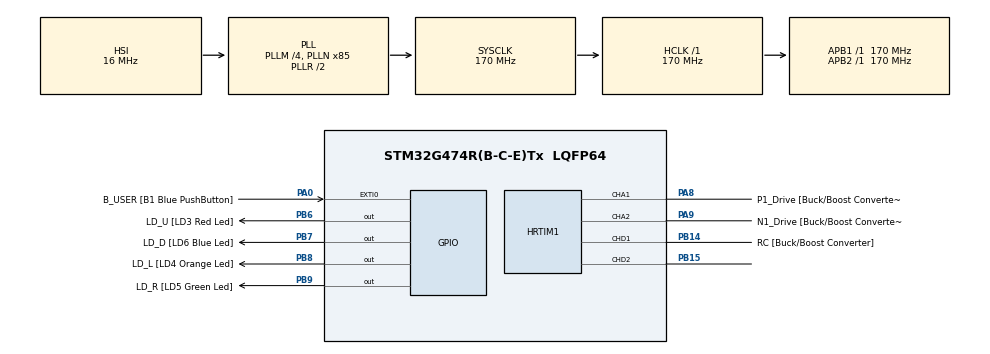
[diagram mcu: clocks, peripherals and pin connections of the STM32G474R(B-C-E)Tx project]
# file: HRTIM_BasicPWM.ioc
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HRTIM1.ADCTrigger_Id1=__NULL
HRTIM1.ADCTrigger_Id2=__NULL
HRTIM1.ADCTrigger_Id3=__NULL
HRTIM1.ADCTrigger_Id4=__NULL
HRTIM1.BurstDMAconfig-MasterTimer=__NULL
HRTIM1.BurstDMAconfig-Output_TA1TA2=__NULL
HRTIM1.BurstDMAconfig-Output_TD1TD2=__NULL
HRTIM1.BurstMode-MasterTimer=HRTIM_TIMERBURSTMODE_MAINTAINCLOCK
HRTIM1.BurstMode-Output_TA1TA2=HRTIM_TIMERBURSTMODE_MAINTAINCLOCK
HRTIM1.BurstMode-Output_TD1TD2=HRTIM_TIMERBURSTMODE_MAINTAINCLOCK
HRTIM1.BurstModeEntryDelayed1-Output_TA1TA2=HRTIM_OUTPUTBURSTMODEENTRY_REGULAR
HRTIM1.BurstModeEntryDelayed1-Output_TD1TD2=HRTIM_OUTPUTBURSTMODEENTRY_REGULAR
HRTIM1.BurstModeEntryDelayed2-Output_TA1TA2=HRTIM_OUTPUTBURSTMODEENTRY_REGULAR
HRTIM1.BurstModeEntryDelayed2-Output_TD1TD2=HRTIM_OUTPUTBURSTMODEENTRY_REGULAR
HRTIM1.CaptureUnit1-Output_TA1TA2=__NULL
HRTIM1.CaptureUnit1-Output_TD1TD2=__NULL
HRTIM1.CaptureUnit2-Output_TA1TA2=__NULL
HRTIM1.CaptureUnit2-Output_TD1TD2=__NULL
HRTIM1.ChopperModeEnable1-Output_TA1TA2=HRTIM_OUTPUTCHOPPERMODE_DISABLED
HRTIM1.ChopperModeEnable1-Output_TD1TD2=HRTIM_OUTPUTCHOPPERMODE_DISABLED
HRTIM1.ChopperModeEnable2-Output_TA1TA2=HRTIM_OUTPUTCHOPPERMODE_DISABLED
HRTIM1.ChopperModeEnable2-Output_TD1TD2=HRTIM_OUTPUTCHOPPERMODE_DISABLED
HRTIM1.ChopperModeconfig-Output_TA1TA2=__NULL
HRTIM1.ChopperModeconfig-Output_TD1TD2=__NULL
HRTIM1.CompareUnit1-MasterTimer=__NULL
HRTIM1.CompareUnit1-Output_TA1TA2=__NULL
HRTIM1.CompareUnit1-Output_TD1TD2=__NULL
HRTIM1.CompareUnit2-MasterTimer=__NULL
HRTIM1.CompareUnit2-Output_TA1TA2=__NULL
HRTIM1.CompareUnit2-Output_TD1TD2=__NULL
HRTIM1.CompareUnit3-MasterTimer=__NULL
HRTIM1.CompareUnit3-Output_TA1TA2=__NULL
HRTIM1.CompareUnit3-Output_TD1TD2=__NULL
HRTIM1.CompareUnit4-MasterTimer=__NULL
HRTIM1.CompareUnit4-Output_TA1TA2=__NULL
HRTIM1.CompareUnit4-Output_TD1TD2=__NULL
HRTIM1.Configuration_TA=Waveform
HRTIM1.Configuration_TD=Waveform
HRTIM1.DACSynchro-MasterTimer=HRTIM_DACSYNC_NONE
HRTIM1.DACSynchro-Output_TA1TA2=HRTIM_DACSYNC_NONE
HRTIM1.DACSynchro-Output_TD1TD2=HRTIM_DACSYNC_NONE
HRTIM1.DeadTimeInsertion-Output_TA1TA2=HRTIM_TIMDEADTIMEINSERTION_DISABLED
HRTIM1.DeadTimeInsertion-Output_TD1TD2=HRTIM_TIMDEADTIMEINSERTION_DISABLED
HRTIM1.Deadtimeconfig-Output_TA1TA2=__NULL
HRTIM1.Deadtimeconfig-Output_TD1TD2=__NULL
HRTIM1.DelayedProtectionMode-Output_TA1TA2=HRTIM_TIMER_A_B_C_DELAYEDPROTECTION_DISABLED
HRTIM1.DelayedProtectionMode-Output_TD1TD2=HRTIM_TIMER_D_E_DELAYEDPROTECTION_DISABLED
HRTIM1.Enable=HRTIM_BURSTMODECTL_DISABLED
HRTIM1.EnableCalibration=NoDLLCalibration
HRTIM1.Event1-Output_TA1TA2=__NULL
HRTIM1.Event1-Output_TD1TD2=__NULL
HRTIM1.Event10-Output_TA1TA2=__NULL
HRTIM1.Event10-Output_TD1TD2=__NULL
HRTIM1.Event2-Output_TA1TA2=__NULL
HRTIM1.Event2-Output_TD1TD2=__NULL
HRTIM1.Event3-Output_TA1TA2=__NULL
HRTIM1.Event3-Output_TD1TD2=__NULL
HRTIM1.Event4-Output_TA1TA2=__NULL
HRTIM1.Event4-Output_TD1TD2=__NULL
HRTIM1.Event5-Output_TA1TA2=__NULL
HRTIM1.Event5-Output_TD1TD2=__NULL
HRTIM1.Event6-Output_TA1TA2=__NULL
HRTIM1.Event6-Output_TD1TD2=__NULL
HRTIM1.Event7-Output_TA1TA2=__NULL
HRTIM1.Event7-Output_TD1TD2=__NULL
HRTIM1.Event8-Output_TA1TA2=__NULL
HRTIM1.Event8-Output_TD1TD2=__NULL
HRTIM1.Event9-Output_TA1TA2=__NULL
HRTIM1.Event9-Output_TD1TD2=__NULL
HRTIM1.Event_EEV1=__NULL
HRTIM1.Event_EEV10=__NULL
HRTIM1.Event_EEV2=__NULL
HRTIM1.Event_EEV3=__NULL
HRTIM1.Event_EEV4=__NULL
HRTIM1.Event_EEV5=__NULL
HRTIM1.Event_EEV6=__NULL
HRTIM1.Event_EEV7=__NULL
HRTIM1.Event_EEV8=__NULL
HRTIM1.Event_EEV9=__NULL
HRTIM1.FaultLevel1-Output_TA1TA2=HRTIM_OUTPUTFAULTLEVEL_NONE
HRTIM1.FaultLevel1-Output_TD1TD2=HRTIM_OUTPUTFAULTLEVEL_NONE
HRTIM1.FaultLevel2-Output_TA1TA2=HRTIM_OUTPUTFAULTLEVEL_NONE
HRTIM1.FaultLevel2-Output_TD1TD2=HRTIM_OUTPUTFAULTLEVEL_NONE
HRTIM1.FaultLock-Output_TA1TA2=HRTIM_TIMFAULTLOCK_READWRITE
HRTIM1.FaultLock-Output_TD1TD2=HRTIM_TIMFAULTLOCK_READWRITE
HRTIM1.Fault_Line1=__NULL
HRTIM1.Fault_Line2=__NULL
HRTIM1.Fault_Line3=__NULL
HRTIM1.Fault_Line4=__NULL
HRTIM1.Fault_Line5=__NULL
HRTIM1.HRTIMInterruptResquests1=HRTIM_IT_NONE
HRTIM1.HRTIMInterruptResquests2=HRTIM_IT_NONE
HRTIM1.HRTIMInterruptResquests3=HRTIM_IT_NONE
HRTIM1.HRTIMInterruptResquests4=HRTIM_IT_NONE
HRTIM1.HRTIMInterruptResquests5=HRTIM_IT_NONE
HRTIM1.HRTIMInterruptResquests6=HRTIM_IT_NONE
HRTIM1.HRTIMInterruptResquests7=HRTIM_IT_NONE
HRTIM1.HRTIMInterruptResquests8=HRTIM_IT_NONE
HRTIM1.HalfModeEnable-MasterTimer=HRTIM_HALFMODE_DISABLED
HRTIM1.HalfModeEnable-Output_TA1TA2=HRTIM_HALFMODE_DISABLED
HRTIM1.HalfModeEnable-Output_TD1TD2=HRTIM_HALFMODE_DISABLED
HRTIM1.IdleLevel1-Output_TA1TA2=HRTIM_OUTPUTIDLELEVEL_INACTIVE
HRTIM1.IdleLevel1-Output_TD1TD2=HRTIM_OUTPUTIDLELEVEL_INACTIVE
HRTIM1.IdleLevel2-Output_TA1TA2=HRTIM_OUTPUTIDLELEVEL_INACTIVE
HRTIM1.IdleLevel2-Output_TD1TD2=HRTIM_OUTPUTIDLELEVEL_INACTIVE
HRTIM1.IdleMode1-Output_TA1TA2=HRTIM_OUTPUTIDLEMODE_NONE
HRTIM1.IdleMode1-Output_TD1TD2=HRTIM_OUTPUTIDLEMODE_NONE
HRTIM1.IdleMode2-Output_TA1TA2=HRTIM_OUTPUTIDLEMODE_NONE
HRTIM1.IdleMode2-Output_TD1TD2=HRTIM_OUTPUTIDLEMODE_NONE
HRTIM1.ModeTimeBase-MasterTimer=HRTIM_MODE_CONTINUOUS
HRTIM1.ModeTimeBase-Output_TA1TA2=HRTIM_MODE_CONTINUOUS
HRTIM1.ModeTimeBase-Output_TD1TD2=HRTIM_MODE_CONTINUOUS
HRTIM1.NumberDMARequests_Master=0
HRTIM1.NumberDMARequests_TA=0
HRTIM1.NumberDMARequests_TD=0
HRTIM1.NumberFaultEnable-Output_TA1TA2=0
HRTIM1.NumberFaultEnable-Output_TD1TD2=0
HRTIM1.NumberInterruptRequests-Output_TA1TA2=0
HRTIM1.NumberInterruptRequests-Output_TD1TD2=0
HRTIM1.NumberInterruptRequests_Master-MasterTimer=0
HRTIM1.NumberResetSource1-Output_TA1TA2=0
HRTIM1.NumberResetSource1-Output_TD1TD2=0
HRTIM1.NumberResetSource2_TA=0
HRTIM1.NumberResetSource2_TD=0
HRTIM1.NumberResetTrigger-Output_TA1TA2=0
HRTIM1.NumberResetTrigger-Output_TD1TD2=0
HRTIM1.NumberSetSource1-Output_TA1TA2=0
HRTIM1.NumberSetSource1-Output_TD1TD2=0
HRTIM1.NumberSetSource2_TA=0
HRTIM1.NumberSetSource2_TD=0
HRTIM1.NumberUpdateTrigger-Output_TA1TA2=0
HRTIM1.NumberUpdateTrigger-Output_TD1TD2=0
HRTIM1.Output1-Output_TA1TA2=HRTIM_OUTPUT_TA1
HRTIM1.Output1-Output_TD1TD2=HRTIM_OUTPUT_TD1
HRTIM1.Output2-Output_TA1TA2=HRTIM_OUTPUT_TA2
HRTIM1.Output2-Output_TD1TD2=HRTIM_OUTPUT_TD2
HRTIM1.Periode_MASTER=0xFFFD
HRTIM1.Periode_TA=0xFFFD
HRTIM1.Polarity1-Output_TA1TA2=HRTIM_OUTPUTPOLARITY_HIGH
HRTIM1.Polarity1-Output_TD1TD2=HRTIM_OUTPUTPOLARITY_HIGH
HRTIM1.Polarity2-Output_TA1TA2=HRTIM_OUTPUTPOLARITY_HIGH
HRTIM1.Polarity2-Output_TD1TD2=HRTIM_OUTPUTPOLARITY_HIGH
HRTIM1.PreloadEnable-MasterTimer=HRTIM_PRELOAD_DISABLED
HRTIM1.PreloadEnable-Output_TA1TA2=HRTIM_PRELOAD_DISABLED
HRTIM1.PreloadEnable-Output_TD1TD2=HRTIM_PRELOAD_DISABLED
HRTIM1.PrescalerRatio_MASTER=HRTIM_PRESCALERRATIO_DIV1
HRTIM1.PrescalerRatio_TA=HRTIM_PRESCALERRATIO_DIV1
HRTIM1.PrescalerRatio_TD=HRTIM_PRESCALERRATIO_DIV1
HRTIM1.PushPull-Output_TA1TA2=HRTIM_TIMPUSHPULLMODE_DISABLED
HRTIM1.PushPull-Output_TD1TD2=HRTIM_TIMPUSHPULLMODE_DISABLED
HRTIM1.RepetitionUpdate-MasterTimer=HRTIM_UPDATEONREPETITION_DISABLED
HRTIM1.RepetitionUpdate-Output_TA1TA2=HRTIM_UPDATEONREPETITION_DISABLED
HRTIM1.RepetitionUpdate-Output_TD1TD2=HRTIM_UPDATEONREPETITION_DISABLED
HRTIM1.ResetOnSync-MasterTimer=HRTIM_SYNCRESET_DISABLED
HRTIM1.ResetOnSync-Output_TA1TA2=HRTIM_SYNCRESET_DISABLED
HRTIM1.ResetOnSync-Output_TD1TD2=HRTIM_SYNCRESET_DISABLED
HRTIM1.ResetUpdate-Output_TA1TA2=HRTIM_TIMUPDATEONRESET_DISABLED
HRTIM1.ResetUpdate-Output_TD1TD2=HRTIM_TIMUPDATEONRESET_DISABLED
HRTIM1.StartOnSync-MasterTimer=HRTIM_SYNCSTART_DISABLED
HRTIM1.StartOnSync-Output_TA1TA2=HRTIM_SYNCSTART_DISABLED
HRTIM1.StartOnSync-Output_TD1TD2=HRTIM_SYNCSTART_DISABLED
HRTIM1.SyncOptions=HRTIM_SYNCOPTION_NONE
HRTIM1.TimerIdx-MasterTimer=HRTIM_TIMERINDEX_MASTER
HRTIM1.TimerIdx-Output_TA1TA2=HRTIM_TIMERINDEX_TIMER_A
HRTIM1.TimerIdx-Output_TD1TD2=HRTIM_TIMERINDEX_TIMER_D
HRTIM1.UpdateGating-MasterTimer=HRTIM_UPDATEGATING_INDEPENDENT
HRTIM1.UpdateGating-Output_TA1TA2=HRTIM_UPDATEGATING_INDEPENDENT
HRTIM1.UpdateGating-Output_TD1TD2=HRTIM_UPDATEGATING_INDEPENDENT
Mcu.Family=STM32G4
Mcu.Name=STM32G474R(B-C-E)Tx
Mcu.Package=LQFP64
NVIC.PriorityGroup=NVIC_PRIORITYGROUP_0
PA0.GPIO_Label=B_USER [B1 Blue PushButton]
PA0.GPIO_ModeDefaultEXTI=GPIO_MODE_EVT_RISING
PA0.Signal=GPXTI0
PA1.GPIO_Label=Vin_Sense [Buck/Boost Converter]
PA1.Signal=ADC1_IN2
PA10.GPIO_Label=N2_Drive [Buck/Boost Converter]
PA10.Signal=HRTIM1_CHB1
PA11.GPIO_Label=P2_Drive [Buck/Boost Converter]
PA11.Signal=HRTIM1_CHB2
PA13.GPIO_Label=SWDIO
PA13.Signal=SYS_JTMS-SWDIO
PA14.GPIO_Label=SWCLK
PA14.Signal=SYS_JTCK-SWCLK
PA3.GPIO_Label=Vout_Sense [Buck/Boost Converter]
PA3.Signal=ADC1_IN4
PA8.GPIO_Label=P1_Drive [Buck/Boost Converter]
PA8.Mode=Output_TA1TA2
PA8.Signal=HRTIM1_CHA1
PA9.GPIO_Label=N1_Drive [Buck/Boost Converter]
PA9.Mode=Output_TA1TA2
PA9.Signal=HRTIM1_CHA2
PB12.GPIO_Label=BK_Drive [Led Buck Converter]
PB12.Signal=HRTIM1_CHC1
PB14.GPIO_Label=RC [Buck/Boost Converter]
PB14.Mode=Output_TD1TD2
PB14.Signal=HRTIM1_CHD1
PB15.Mode=Output_TD1TD2
PB15.Signal=HRTIM1_CHD2
PB6.GPIO_Label=LD_U [LD3 Red Led]
PB6.Signal=GPIO_Output
PB7.GPIO_Label=LD_D [LD6 Blue Led]
PB7.Signal=GPIO_Output
PB8-BOOT0.GPIO_Label=LD_L [LD4 Orange Led]
PB8-BOOT0.Signal=GPIO_Output
PB9.GPIO_Label=LD_R [LD5 Green Led]
PB9.Signal=GPIO_Output
PF0-OSC_IN.GPIO_Label=PF0-OSC_IN
PF0-OSC_IN.Signal=RCC_OSC_IN
PF1-OSC_OUT.GPIO_Label=PF1_OSC_OUT
PF1-OSC_OUT.Signal=RCC_OSC_OUT
ProjectManager.HeapSize=0x200
ProjectManager.StackSize=0x400
ProjectManager.TargetToolchain=EWARM V8
RCC.ADC12Freq_Value=170000000
RCC.ADC345Freq_Value=170000000
RCC.AHBFreq_Value=170000000
RCC.APB1Freq_Value=170000000
RCC.APB1TimFreq_Value=170000000
RCC.APB2Freq_Value=170000000
RCC.APB2TimFreq_Value=170000000
RCC.CortexFreq_Value=170000000
RCC.EXTERNAL_CLOCK_VALUE=12288000
RCC.HCLKFreq_Value=170000000
RCC.HSE_VALUE=24000000
RCC.HSI48_VALUE=48000000
RCC.HSI_VALUE=16000000
RCC.LSE_VALUE=32768
RCC.PLLM=RCC_PLLM_DIV4
RCC.PLLN=85
RCC.SYSCLKFreq_VALUE=170000000
RCC.SYSCLKSource=RCC_SYSCLKSOURCE_PLLCLK
RCC.USBFreq_Value=170000000
RCC.VCOOutputFreq_Value=340000000
VP_HRTIM1_VS_hrtimMasterTimerNoOutput.Mode=MasterTimer
board=STM32F3348DISCOVERY

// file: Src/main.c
/* USER CODE BEGIN Header */
/**
  ******************************************************************************
  * @file           : main.c
  * @brief          : Main program body
  ******************************************************************************
  * @attention
  *
  * <h2><center>&copy; Copyright (c) 2019 STMicroelectronics.
  * All rights reserved.</center></h2>
  *
  * This software component is licensed by ST under BSD 3-Clause license,
  * the "License"; You may not use this file except in compliance with the
  * License. You may obtain a copy of the License at:
  *                        opensource.org/licenses/BSD-3-Clause
  *
  ******************************************************************************
  */
/* USER CODE END Header */

#include "main.h"

/* USER CODE BEGIN Includes */
#include "stm32g4xx_nucleo.h"
/* USER CODE END Includes */

HRTIM_HandleTypeDef hhrtim1;

/* USER CODE BEGIN PV */
/* Private variables ---------------------------------------------------------*/

/* Private typedef -----------------------------------------------------------*/
#define HRTIM_INPUT_CLOCK       ((uint64_t)144000000)   /* Value in Hz */

/* Formula below works down to 70.3kHz (with presc ratio = 1) */
#define _200KHz_PERIOD ((uint16_t)((HRTIM_INPUT_CLOCK * 32) / 200000))

/* Formula below works down to 70.3kHz (with presc ratio = 1) */
#define _100KHz_PERIOD ((uint16_t)((HRTIM_INPUT_CLOCK * 32) / 100000))

/* Formula below works down to 70.3kHz (with presc ratio = 1) */
#define _100KHz_Plus_PERIOD ((uint16_t)((HRTIM_INPUT_CLOCK * 32) / 100001))

/* Formula below works down to 17.6kHz (with presc ratio = 4) */
#define _33KHz_PERIOD ((uint16_t)((HRTIM_INPUT_CLOCK * 8) / 33333))

/* Define here the snippet to be executed */
#define HRTIM_CHECK
//#define SINGLE_PWM
//#define MULTIPLE_PWM
//#define PWM_MASTER
//#define ARBITRARY_WAVEFORM

HRTIM_HandleTypeDef hhrtim1;

/* USER CODE END PV */

void SystemClock_Config(void);
static void MX_GPIO_Init(void);
static void MX_HRTIM1_Init(void);
/* USER CODE BEGIN PFP */
/* Private function prototypes -----------------------------------------------*/
static void GPIO_HRTIM_outputs_Config(void);

#ifdef HRTIM_CHECK
static void HRTIM_Config_HRTIMCheck(void);
#endif /* HRTIM_CHECK */

#ifdef SINGLE_PWM
static void HRTIM_Config_SinglePWM(void);
#endif /* SINGLE_PWM */

#ifdef MULTIPLE_PWM
static void HRTIM_Config_MultiplePWM(void);
#endif  /* MULTIPLE_PWM */

#ifdef PWM_MASTER
static void HRTIM_Config_MasterPWM(void);
#endif /* PWM_MASTER */

#ifdef ARBITRARY_WAVEFORM
static void HRTIM_Config_ArbitraryWaveform(void);
#endif /* ARBITRARY_WAVEFORM */

/* USER CODE END PFP */

int main(void)
{

  /* MCU Configuration--------------------------------------------------------*/

  /* Reset of all peripherals, Initializes the Flash interface and the Systick. */
  HAL_Init();

  /* Configure the system clock */
  SystemClock_Config();

  /* Initialize all configured peripherals */
  MX_GPIO_Init();
  MX_HRTIM1_Init();
  /* USER CODE BEGIN 2 */

  /* ---------------------------------------------------------------------------*/
/* ------------------------ EXAMPLE 1: HRTIM_CHECK ---------------------------*/
/* ---------------------------------------------------------------------------*/
#ifdef HRTIM_CHECK

  HRTIM_Config_HRTIMCheck();    /* Initialize HRTIM and related inputs */
  GPIO_HRTIM_outputs_Config();  /* Initialize GPIO's HRTIM outputs */
  BSP_LED_On(LED2);
#endif  /* HRTIM_CHECK */
/* ---------------------------------------------------------------------------*/
/* ------------------------ EXAMPLE 2: SINGLE PWM ----------------------------*/
/* ---------------------------------------------------------------------------*/
#ifdef SINGLE_PWM

  HRTIM_Config_SinglePWM();     /* Initialize HRTIM and related inputs */
  GPIO_HRTIM_outputs_Config();  /* Initialize GPIO's HRTIM outputs */

 #endif  /* SINGLE_PWM */
/* ---------------------------------------------------------------------------*/
/* ------------------------ EXAMPLE 3: MULTIPLE PWM --------------------------*/
/* ---------------------------------------------------------------------------*/
#ifdef MULTIPLE_PWM

  HRTIM_Config_MultiplePWM();   /* Initialize HRTIM and related inputs */
  GPIO_HRTIM_outputs_Config();  /* Initialize GPIO's HRTIM outputs */

#endif /* MULTIPLE_PWM */
/* ---------------------------------------------------------------------------*/
/* -------------------- SNIPPET 4: PWM with MASTER TIMER ---------------------*/
/* ---------------------------------------------------------------------------*/
#ifdef PWM_MASTER

  HRTIM_Config_MasterPWM();     /* Initialize HRTIM and related inputs */
  GPIO_HRTIM_outputs_Config();  /* Initialize GPIO's HRTIM outputs */

#endif /* PWM_MASTER */
/* ---------------------------------------------------------------------------*/
/* --------------------- EXAMPLE 5: ARBITRARY_WAVEFORM -----------------------*/
/* ---------------------------------------------------------------------------*/
#ifdef ARBITRARY_WAVEFORM

  HRTIM_Config_ArbitraryWaveform();     /* Initialize HRTIM and related inputs */
  GPIO_HRTIM_outputs_Config();  /* Initialize GPIO's HRTIM outputs */

#endif /* ARBITRARY_WAVEFORM */

  /* USER CODE END 2 */

  /* Infinite loop */
  while (1)
  {

    /* USER CODE BEGIN 3 */
/* ---------------------------------------------------------------------------*/
/* ------------------------ EXAMPLE 1: HRTIM_CHECK ---------------------------*/
/* ---------------------------------------------------------------------------*/
#ifdef HRTIM_CHECK

    /* TD1 output toggles at ~430kHz (this frequency can vary depending on compiler and optimizations options) */
    HAL_HRTIM_WaveformSetOutputLevel(&hhrtim1, HRTIM_TIMERINDEX_TIMER_D, HRTIM_OUTPUT_TD1, HRTIM_OUTPUTLEVEL_ACTIVE);
    HAL_HRTIM_WaveformSetOutputLevel(&hhrtim1, HRTIM_TIMERINDEX_TIMER_D, HRTIM_OUTPUT_TD1, HRTIM_OUTPUTLEVEL_INACTIVE);

    /* With direct register access, TD1 output toggles at ~10MHz */
//    HRTIM1->sTimerxRegs[HRTIM_TIMERINDEX_TIMER_D].SETx1R = HRTIM_SET1R_SST;
//    HRTIM1->sTimerxRegs[HRTIM_TIMERINDEX_TIMER_D].RSTx1R = HRTIM_RST1R_SRT;
#endif  /* HRTIM_CHECK */
/* ---------------------------------------------------------------------------*/
/* ------------------------ EXAMPLE 2: SINGLE PWM ----------------------------*/
/* ---------------------------------------------------------------------------*/
#ifdef SINGLE_PWM

    BSP_LED_Toggle(LED2);
    HAL_Delay(100);

#endif  /* SINGLE_PWM */
/* ---------------------------------------------------------------------------*/
/* ------------------------ EXAMPLE 3: MULTIPLE PWM --------------------------*/
/* ---------------------------------------------------------------------------*/
#ifdef MULTIPLE_PWM

    BSP_LED_Toggle(LED2);
    HAL_Delay(100);

#endif /* MULTIPLE_PWM */
/* ---------------------------------------------------------------------------*/
/* -------------------- SNIPPET 4: PWM with MASTER TIMER ---------------------*/
/* ---------------------------------------------------------------------------*/
#ifdef PWM_MASTER

    BSP_LED_Toggle(LED2);
    HAL_Delay(100);

#endif /* PWM_MASTER */
/* ---------------------------------------------------------------------------*/
/* --------------------- EXAMPLE 5: ARBITRARY_WAVEFORM -----------------------*/
/* ---------------------------------------------------------------------------*/
#ifdef ARBITRARY_WAVEFORM

    BSP_LED_Toggle(LED2);
    HAL_Delay(100);

#endif /* ARBITRARY_WAVEFORM */

  }
  /* USER CODE END 3 */
}

void SystemClock_Config(void)
{
  RCC_OscInitTypeDef RCC_OscInitStruct = {0};
  RCC_ClkInitTypeDef RCC_ClkInitStruct = {0};

  /** Configure the main internal regulator output voltage
  */
  HAL_PWREx_ControlVoltageScaling(PWR_REGULATOR_VOLTAGE_SCALE1_BOOST);
  /** Initializes the CPU, AHB and APB busses clocks
  */
  RCC_OscInitStruct.OscillatorType = RCC_OSCILLATORTYPE_HSI;
  RCC_OscInitStruct.HSIState = RCC_HSI_ON;
  RCC_OscInitStruct.HSICalibrationValue = 64;
  RCC_OscInitStruct.PLL.PLLState = RCC_PLL_ON;
  RCC_OscInitStruct.PLL.PLLSource = RCC_PLLSOURCE_HSI;
  RCC_OscInitStruct.PLL.PLLM = RCC_PLLM_DIV4;
  RCC_OscInitStruct.PLL.PLLN = 85;
  RCC_OscInitStruct.PLL.PLLP = RCC_PLLP_DIV2;
  RCC_OscInitStruct.PLL.PLLQ = RCC_PLLQ_DIV2;
  RCC_OscInitStruct.PLL.PLLR = RCC_PLLR_DIV2;
  if (HAL_RCC_OscConfig(&RCC_OscInitStruct) != HAL_OK)
  {
    Error_Handler();
  }
  /** Initializes the CPU, AHB and APB busses clocks
  */
  RCC_ClkInitStruct.ClockType = RCC_CLOCKTYPE_HCLK|RCC_CLOCKTYPE_SYSCLK
                              |RCC_CLOCKTYPE_PCLK1|RCC_CLOCKTYPE_PCLK2;
  RCC_ClkInitStruct.SYSCLKSource = RCC_SYSCLKSOURCE_PLLCLK;
  RCC_ClkInitStruct.AHBCLKDivider = RCC_SYSCLK_DIV1;
  RCC_ClkInitStruct.APB1CLKDivider = RCC_HCLK_DIV1;
  RCC_ClkInitStruct.APB2CLKDivider = RCC_HCLK_DIV1;

  if (HAL_RCC_ClockConfig(&RCC_ClkInitStruct, FLASH_LATENCY_8) != HAL_OK)
  {
    Error_Handler();
  }
}

static void MX_HRTIM1_Init(void)
{

  HRTIM_TimeBaseCfgTypeDef pTimeBaseCfg = {0};
  HRTIM_TimerCfgTypeDef pTimerCfg = {0};
  HRTIM_TimerCtlTypeDef pTimerCtl = {0};
  HRTIM_OutputCfgTypeDef pOutputCfg = {0};

  hhrtim1.Instance = HRTIM1;
  hhrtim1.Init.HRTIMInterruptResquests = HRTIM_IT_NONE;
  hhrtim1.Init.SyncOptions = HRTIM_SYNCOPTION_NONE;
  if (HAL_HRTIM_Init(&hhrtim1) != HAL_OK)
  {
    Error_Handler();
  }
  pTimeBaseCfg.Period = 0xFFFD;
  pTimeBaseCfg.RepetitionCounter = 0x00;
  pTimeBaseCfg.PrescalerRatio = HRTIM_PRESCALERRATIO_DIV1;
  pTimeBaseCfg.Mode = HRTIM_MODE_CONTINUOUS;
  if (HAL_HRTIM_TimeBaseConfig(&hhrtim1, HRTIM_TIMERINDEX_MASTER, &pTimeBaseCfg) != HAL_OK)
  {
    Error_Handler();
  }
  pTimerCfg.InterruptRequests = HRTIM_MASTER_IT_NONE;
  pTimerCfg.DMARequests = HRTIM_MASTER_DMA_NONE;
  pTimerCfg.DMASrcAddress = 0x0000;
  pTimerCfg.DMADstAddress = 0x0000;
  pTimerCfg.DMASize = 0x1;
  pTimerCfg.HalfModeEnable = HRTIM_HALFMODE_DISABLED;
  pTimerCfg.InterleavedMode = HRTIM_INTERLEAVED_MODE_DISABLED;
  pTimerCfg.StartOnSync = HRTIM_SYNCSTART_DISABLED;
  pTimerCfg.ResetOnSync = HRTIM_SYNCRESET_DISABLED;
  pTimerCfg.DACSynchro = HRTIM_DACSYNC_NONE;
  pTimerCfg.PreloadEnable = HRTIM_PRELOAD_DISABLED;
  pTimerCfg.UpdateGating = HRTIM_UPDATEGATING_INDEPENDENT;
  pTimerCfg.BurstMode = HRTIM_TIMERBURSTMODE_MAINTAINCLOCK;
  pTimerCfg.RepetitionUpdate = HRTIM_UPDATEONREPETITION_DISABLED;
  pTimerCfg.ReSyncUpdate = HRTIM_TIMERESYNC_UPDATE_UNCONDITIONAL;
  if (HAL_HRTIM_WaveformTimerConfig(&hhrtim1, HRTIM_TIMERINDEX_MASTER, &pTimerCfg) != HAL_OK)
  {
    Error_Handler();
  }
  if (HAL_HRTIM_TimeBaseConfig(&hhrtim1, HRTIM_TIMERINDEX_TIMER_A, &pTimeBaseCfg) != HAL_OK)
  {
    Error_Handler();
  }
  pTimerCtl.UpDownMode = HRTIM_TIMERUPDOWNMODE_UP;
  pTimerCtl.DualChannelDacEnable = HRTIM_TIMER_DCDE_DISABLED;
  if (HAL_HRTIM_WaveformTimerControl(&hhrtim1, HRTIM_TIMERINDEX_TIMER_A, &pTimerCtl) != HAL_OK)
  {
    Error_Handler();
  }
  pTimerCfg.InterruptRequests = HRTIM_TIM_IT_NONE;
  pTimerCfg.DMARequests = HRTIM_TIM_DMA_NONE;
  pTimerCfg.DMASrcAddress = 0x0000;
  pTimerCfg.DMADstAddress = 0x0000;
  pTimerCfg.DMASize = 0x1;
  pTimerCfg.PushPull = HRTIM_TIMPUSHPULLMODE_DISABLED;
  pTimerCfg.FaultEnable = HRTIM_TIMFAULTENABLE_NONE;
  pTimerCfg.FaultLock = HRTIM_TIMFAULTLOCK_READWRITE;
  pTimerCfg.DeadTimeInsertion = HRTIM_TIMDEADTIMEINSERTION_DISABLED;
  pTimerCfg.DelayedProtectionMode = HRTIM_TIMER_A_B_C_DELAYEDPROTECTION_DISABLED;
  pTimerCfg.UpdateTrigger = HRTIM_TIMUPDATETRIGGER_NONE;
  pTimerCfg.ResetTrigger = HRTIM_TIMRESETTRIGGER_NONE;
  pTimerCfg.ResetUpdate = HRTIM_TIMUPDATEONRESET_DISABLED;
  if (HAL_HRTIM_WaveformTimerConfig(&hhrtim1, HRTIM_TIMERINDEX_TIMER_A, &pTimerCfg) != HAL_OK)
  {
    Error_Handler();
  }
  pTimerCfg.DMASrcAddress = 0x0000;
  pTimerCfg.DMADstAddress = 0x0000;
  pTimerCfg.DMASize = 0x1;
  pTimerCfg.DelayedProtectionMode = HRTIM_TIMER_D_E_DELAYEDPROTECTION_DISABLED;
  if (HAL_HRTIM_WaveformTimerConfig(&hhrtim1, HRTIM_TIMERINDEX_TIMER_D, &pTimerCfg) != HAL_OK)
  {
    Error_Handler();
  }
  pOutputCfg.Polarity = HRTIM_OUTPUTPOLARITY_HIGH;
  pOutputCfg.SetSource = HRTIM_OUTPUTSET_NONE;
  pOutputCfg.ResetSource = HRTIM_OUTPUTRESET_NONE;
  pOutputCfg.IdleMode = HRTIM_OUTPUTIDLEMODE_NONE;
  pOutputCfg.IdleLevel = HRTIM_OUTPUTIDLELEVEL_INACTIVE;
  pOutputCfg.FaultLevel = HRTIM_OUTPUTFAULTLEVEL_NONE;
  pOutputCfg.ChopperModeEnable = HRTIM_OUTPUTCHOPPERMODE_DISABLED;
  pOutputCfg.BurstModeEntryDelayed = HRTIM_OUTPUTBURSTMODEENTRY_REGULAR;
  if (HAL_HRTIM_WaveformOutputConfig(&hhrtim1, HRTIM_TIMERINDEX_TIMER_A, HRTIM_OUTPUT_TA1, &pOutputCfg) != HAL_OK)
  {
    Error_Handler();
  }
  if (HAL_HRTIM_WaveformOutputConfig(&hhrtim1, HRTIM_TIMERINDEX_TIMER_D, HRTIM_OUTPUT_TD1, &pOutputCfg) != HAL_OK)
  {
    Error_Handler();
  }
  if (HAL_HRTIM_WaveformOutputConfig(&hhrtim1, HRTIM_TIMERINDEX_TIMER_A, HRTIM_OUTPUT_TA2, &pOutputCfg) != HAL_OK)
  {
    Error_Handler();
  }
  if (HAL_HRTIM_WaveformOutputConfig(&hhrtim1, HRTIM_TIMERINDEX_TIMER_D, HRTIM_OUTPUT_TD2, &pOutputCfg) != HAL_OK)
  {
    Error_Handler();
  }
  if (HAL_HRTIM_TimeBaseConfig(&hhrtim1, HRTIM_TIMERINDEX_TIMER_D, &pTimeBaseCfg) != HAL_OK)
  {
    Error_Handler();
  }
  if (HAL_HRTIM_WaveformTimerControl(&hhrtim1, HRTIM_TIMERINDEX_TIMER_D, &pTimerCtl) != HAL_OK)
  {
    Error_Handler();
  }
  HAL_HRTIM_MspPostInit(&hhrtim1);

}

static void MX_GPIO_Init(void)
{
  GPIO_InitTypeDef GPIO_InitStruct = {0};

  /* GPIO Ports Clock Enable */
  __HAL_RCC_GPIOF_CLK_ENABLE();
  __HAL_RCC_GPIOA_CLK_ENABLE();
  __HAL_RCC_GPIOB_CLK_ENABLE();

  /*Configure GPIO pin Output Level */
  HAL_GPIO_WritePin(GPIOB, LD_U_Pin|LD_D_Pin|LD_L_Pin|LD_R_Pin, GPIO_PIN_RESET);

  /*Configure GPIO pin : B_USER_Pin */
  GPIO_InitStruct.Pin = B_USER_Pin;
  GPIO_InitStruct.Mode = GPIO_MODE_EVT_RISING;
  GPIO_InitStruct.Pull = GPIO_NOPULL;
  HAL_GPIO_Init(B_USER_GPIO_Port, &GPIO_InitStruct);

  /*Configure GPIO pins : Vin_Sense_Pin Vout_Sense_Pin */
  GPIO_InitStruct.Pin = Vin_Sense_Pin|Vout_Sense_Pin;
  GPIO_InitStruct.Mode = GPIO_MODE_ANALOG;
  GPIO_InitStruct.Pull = GPIO_NOPULL;
  HAL_GPIO_Init(GPIOA, &GPIO_InitStruct);

  /*Configure GPIO pins : LD_U_Pin LD_D_Pin LD_L_Pin LD_R_Pin */
  GPIO_InitStruct.Pin = LD_U_Pin|LD_D_Pin|LD_L_Pin|LD_R_Pin;
  GPIO_InitStruct.Mode = GPIO_MODE_OUTPUT_PP;
  GPIO_InitStruct.Pull = GPIO_NOPULL;
  GPIO_InitStruct.Speed = GPIO_SPEED_FREQ_LOW;
  HAL_GPIO_Init(GPIOB, &GPIO_InitStruct);

}

/* USER CODE BEGIN 4 */

/**
* @brief  Configure GPIO outputs for the HRTIM
* @param  None
* @retval None
*/
static void GPIO_HRTIM_outputs_Config(void)
{
  GPIO_InitTypeDef GPIO_InitStruct;

  /* Enable GPIOA clock for timer A outputs */
  __HAL_RCC_GPIOA_CLK_ENABLE();

  /* Configure HRTIM output: TA1 (PA8) and TA2 (PA9)*/
  GPIO_InitStruct.Pin = GPIO_PIN_8 | GPIO_PIN_9;
  GPIO_InitStruct.Mode = GPIO_MODE_AF_PP;
  GPIO_InitStruct.Pull = GPIO_NOPULL;
  GPIO_InitStruct.Speed = GPIO_SPEED_FREQ_HIGH;;
  GPIO_InitStruct.Alternate = GPIO_AF13_HRTIM1;

  HAL_GPIO_Init(GPIOA, &GPIO_InitStruct);

  /* Enable GPIOB clock for timer D outputs */
  __HAL_RCC_GPIOB_CLK_ENABLE();

  /* Configure HRTIM output: TD1 (PB14) and TD2 (PB15)*/
  GPIO_InitStruct.Pin = GPIO_PIN_14 | GPIO_PIN_15;
  GPIO_InitStruct.Mode = GPIO_MODE_AF_PP;
  GPIO_InitStruct.Pull = GPIO_NOPULL;
  GPIO_InitStruct.Speed = GPIO_SPEED_FREQ_HIGH;;
  GPIO_InitStruct.Alternate = GPIO_AF13_HRTIM1;

  HAL_GPIO_Init(GPIOB, &GPIO_InitStruct);
}

#ifdef HRTIM_CHECK
/**
* @brief  HRTIM configuration for checking that HRTIM is up and running
* @param  None
* @retval None
*/
static void HRTIM_Config_HRTIMCheck(void)
{

  /* ------------------------------------------------- */
    /* HRTIM Global initialization: Clock and DLL init */
  /* ------------------------------------------------- */
  /* Initialize the HRTIM structure (minimal configuration) */
  hhrtim1.Instance = HRTIM1;
  hhrtim1.Init.HRTIMInterruptResquests = HRTIM_IT_NONE;
  hhrtim1.Init.SyncOptions = HRTIM_SYNCOPTION_NONE;

  /* Initialize HRTIM */
  HAL_HRTIM_Init(&hhrtim1);

  /* HRTIM DLL calibration: periodic calibration, set period to 14µs */
  HAL_HRTIM_DLLCalibrationStart(&hhrtim1, HRTIM_CALIBRATIONRATE_3);

  /* Wait calibration completion*/
  if (HAL_HRTIM_PollForDLLCalibration(&hhrtim1, 100) != HAL_OK)
  {
    Error_Handler(); /* if DLL or clock is not correctly set */
  }

  /* ---------------*/
  /* HRTIM start-up */
  /* ---------------*/
  /* Enable HRTIM's outputs TD1 */
  /* Note: it is necessary to enable also GPIOs to have outputs functional */
  /* This must be done after HRTIM initialization */
  HAL_HRTIM_WaveformOutputStart(&hhrtim1, HRTIM_OUTPUT_TD1);

}
#endif /* HRTIM_CHECK */

#ifdef SINGLE_PWM
/**
* @brief  HRTIM configuration for a single PWM signal
* @param  None
* @retval None
*/
static void HRTIM_Config_SinglePWM(void)
{
  HRTIM_TimeBaseCfgTypeDef timebase_config;
  HRTIM_TimerCfgTypeDef timer_config;
  HRTIM_OutputCfgTypeDef output_config_TD1;
  HRTIM_CompareCfgTypeDef compare_config;

  /* ----------------------------------------------- */
    /* HRTIM Global initialization: Clock and DLL init */
  /* ----------------------------------------------- */
  /* Initialize the HRTIM structure (minimal configuration) */
  hhrtim1.Instance = HRTIM1;
  hhrtim1.Init.HRTIMInterruptResquests = HRTIM_IT_NONE;
  hhrtim1.Init.SyncOptions = HRTIM_SYNCOPTION_NONE;

  /* Initialize HRTIM */
  HAL_HRTIM_Init(&hhrtim1);

  /* HRTIM DLL calibration: periodic calibration, set period to 14µs */
  HAL_HRTIM_DLLCalibrationStart(&hhrtim1, HRTIM_CALIBRATIONRATE_3);

  /* Wait calibration completion*/
  if (HAL_HRTIM_PollForDLLCalibration(&hhrtim1, 100) != HAL_OK)
  {
    Error_Handler(); /* if DLL or clock is not correctly set */
  }

  /* ------------------------------------------------------------ */
  /* TIMERD initialization: set PWM frequency and continuous mode */
  /* ------------------------------------------------------------ */
  timebase_config.Period = _100KHz_PERIOD;
  timebase_config.RepetitionCounter = 0;
  timebase_config.PrescalerRatio = HRTIM_PRESCALERRATIO_MUL32;
  timebase_config.Mode = HRTIM_MODE_CONTINUOUS;
  HAL_HRTIM_TimeBaseConfig(&hhrtim1, HRTIM_TIMERINDEX_TIMER_D, &timebase_config);

  /* --------------------------------------------------------------------- */
  /* TIMERD global configuration: all values to default                    */
  /* --------------------------------------------------------------------- */
  timer_config.DMARequests = HRTIM_TIM_DMA_NONE;
  timer_config.DMASrcAddress = 0x0;
  timer_config.DMADstAddress = 0x0;
  timer_config.DMASize = 0x0;
  timer_config.HalfModeEnable = HRTIM_HALFMODE_DISABLED;
  timer_config.StartOnSync = HRTIM_SYNCSTART_DISABLED;
  timer_config.ResetOnSync = HRTIM_SYNCRESET_DISABLED;
  timer_config.DACSynchro = HRTIM_DACSYNC_NONE;
  timer_config.PreloadEnable = HRTIM_PRELOAD_DISABLED;
  timer_config.UpdateGating = HRTIM_UPDATEGATING_INDEPENDENT;
  timer_config.BurstMode = HRTIM_TIMERBURSTMODE_MAINTAINCLOCK;
  timer_config.RepetitionUpdate = HRTIM_UPDATEONREPETITION_DISABLED;
  timer_config.ResetUpdate = HRTIM_TIMUPDATEONRESET_DISABLED;
  timer_config.InterruptRequests = HRTIM_TIM_IT_NONE;
  timer_config.PushPull = HRTIM_TIMPUSHPULLMODE_DISABLED;
  timer_config.FaultEnable = HRTIM_TIMFAULTENABLE_NONE;
  timer_config.FaultLock = HRTIM_TIMFAULTLOCK_READWRITE;
  timer_config.DeadTimeInsertion = HRTIM_TIMDEADTIMEINSERTION_DISABLED;
  timer_config.DelayedProtectionMode = HRTIM_TIMER_A_B_C_DELAYEDPROTECTION_DISABLED;
  timer_config.UpdateTrigger= HRTIM_TIMUPDATETRIGGER_NONE;
  timer_config.ResetTrigger = HRTIM_TIMRESETTRIGGER_NONE;
  HAL_HRTIM_WaveformTimerConfig(&hhrtim1, HRTIM_TIMERINDEX_TIMER_D,&timer_config);

  /* --------------------------------------------------------- */
  /* TD1 waveform description TD1 set on period, reset on CMP1 */
  /* --------------------------------------------------------- */
  output_config_TD1.Polarity = HRTIM_OUTPUTPOLARITY_HIGH;
  output_config_TD1.SetSource = HRTIM_OUTPUTSET_TIMPER;
  output_config_TD1.ResetSource  = HRTIM_OUTPUTRESET_TIMCMP1;
  output_config_TD1.IdleMode = HRTIM_OUTPUTIDLEMODE_NONE;
  output_config_TD1.IdleLevel = HRTIM_OUTPUTIDLELEVEL_INACTIVE;
  output_config_TD1.FaultLevel = HRTIM_OUTPUTFAULTLEVEL_NONE;
  output_config_TD1.ChopperModeEnable = HRTIM_OUTPUTCHOPPERMODE_DISABLED;
  output_config_TD1.BurstModeEntryDelayed = HRTIM_OUTPUTBURSTMODEENTRY_REGULAR;
  HAL_HRTIM_WaveformOutputConfig(&hhrtim1,
                                 HRTIM_TIMERINDEX_TIMER_D,
                                 HRTIM_OUTPUT_TD1,
                                 &output_config_TD1);

  /* Set compare registers for duty cycle on TD1 */
  compare_config.CompareValue = _100KHz_PERIOD/2;     // 50% duty cycle
  HAL_HRTIM_WaveformCompareConfig(&hhrtim1,
                                  HRTIM_TIMERINDEX_TIMER_D,
                                  HRTIM_COMPAREUNIT_1,
                                  &compare_config);

  /* ---------------*/
  /* HRTIM start-up */
  /* ---------------*/
  /* Enable HRTIM's outputs TD1 */
  /* Note: it is necessary to enable also GPIOs to have outputs functional */
  /* This must be done after HRTIM initialization */
  HAL_HRTIM_WaveformOutputStart(&hhrtim1, HRTIM_OUTPUT_TD1);

  /* Start HRTIM's TIMER D*/
  HAL_HRTIM_WaveformCounterStart(&hhrtim1, HRTIM_TIMERID_TIMER_D);

}
#endif /* SINGLE_PWM */

#ifdef MULTIPLE_PWM
/**
* @brief  HRTIM configuration for generating multiple PWM outputs
* @param  None
* @retval None
*/
static void HRTIM_Config_MultiplePWM(void)
{
  HRTIM_TimeBaseCfgTypeDef timebase_config;
  HRTIM_TimerCfgTypeDef timer_config;
  HRTIM_OutputCfgTypeDef output_config_TDx;
  HRTIM_OutputCfgTypeDef output_config_TAx;
  HRTIM_CompareCfgTypeDef compare_config;

  /* ----------------------------------------------- */
  /* HRTIM Global initialization: Clock and DLL init */
  /* ----------------------------------------------- */
  /* Initialize the HRTIM structure (minimal configuration) */
  hhrtim1.Instance = HRTIM1;
  hhrtim1.Init.HRTIMInterruptResquests = HRTIM_IT_NONE;
  hhrtim1.Init.SyncOptions = HRTIM_SYNCOPTION_NONE;

  /* Initialize HRTIM */
  HAL_HRTIM_Init(&hhrtim1);

  /* HRTIM DLL calibration: periodic calibration, set period to 14µs */
  HAL_HRTIM_DLLCalibrationStart(&hhrtim1, HRTIM_CALIBRATIONRATE_3);

  /* Wait calibration completion*/
  if (HAL_HRTIM_PollForDLLCalibration(&hhrtim1, 100) != HAL_OK)
  {
    Error_Handler(); /* if DLL or clock is not correctly set */
  }

  /* ------------------------------------------------------------ */
  /* TIMERD initialization: set PWM frequency and continuous mode */
  /* ------------------------------------------------------------ */
  timebase_config.Period = _100KHz_PERIOD;
  timebase_config.RepetitionCounter = 0;
  timebase_config.PrescalerRatio = HRTIM_PRESCALERRATIO_MUL32;
  timebase_config.Mode = HRTIM_MODE_CONTINUOUS;
  HAL_HRTIM_TimeBaseConfig(&hhrtim1, HRTIM_TIMERINDEX_TIMER_D, &timebase_config);

  /* --------------------------------------------------------- */
  /* TIMERD global configuration: preload enabled on REP event */
  /* --------------------------------------------------------- */
  timer_config.DMARequests = HRTIM_TIM_DMA_NONE;
  timer_config.HalfModeEnable = HRTIM_HALFMODE_DISABLED;
  timer_config.StartOnSync = HRTIM_SYNCSTART_DISABLED;
  timer_config.ResetOnSync = HRTIM_SYNCRESET_DISABLED;
  timer_config.DACSynchro = HRTIM_DACSYNC_NONE;
  timer_config.PreloadEnable = HRTIM_PRELOAD_ENABLED;
  timer_config.UpdateGating = HRTIM_UPDATEGATING_INDEPENDENT;
  timer_config.BurstMode = HRTIM_TIMERBURSTMODE_MAINTAINCLOCK;
  timer_config.RepetitionUpdate = HRTIM_UPDATEONREPETITION_ENABLED;
  timer_config.ResetUpdate = HRTIM_TIMUPDATEONRESET_DISABLED;
  timer_config.InterruptRequests = HRTIM_TIM_IT_NONE;
  timer_config.PushPull = HRTIM_TIMPUSHPULLMODE_DISABLED;
  timer_config.FaultEnable = HRTIM_TIMFAULTENABLE_NONE;
  timer_config.FaultLock = HRTIM_TIMFAULTLOCK_READWRITE;
  timer_config.DeadTimeInsertion = HRTIM_TIMDEADTIMEINSERTION_DISABLED;
  timer_config.DelayedProtectionMode = HRTIM_TIMER_A_B_C_DELAYEDPROTECTION_DISABLED;
  timer_config.UpdateTrigger= HRTIM_TIMUPDATETRIGGER_NONE;
  timer_config.ResetTrigger = HRTIM_TIMRESETTRIGGER_NONE;
  HAL_HRTIM_WaveformTimerConfig(&hhrtim1, HRTIM_TIMERINDEX_TIMER_D,&timer_config);

  /* ------------------------------------------------------ */
  /* TD1 waveform description: set on period, reset on CMP1 */
  /* ------------------------------------------------------ */
  output_config_TDx.Polarity = HRTIM_OUTPUTPOLARITY_HIGH;
  output_config_TDx.SetSource = HRTIM_OUTPUTSET_TIMPER;
  output_config_TDx.ResetSource  = HRTIM_OUTPUTRESET_TIMCMP1;
  output_config_TDx.IdleMode = HRTIM_OUTPUTIDLEMODE_NONE;
  output_config_TDx.IdleLevel = HRTIM_OUTPUTIDLELEVEL_INACTIVE;
  output_config_TDx.FaultLevel = HRTIM_OUTPUTFAULTLEVEL_NONE;
  output_config_TDx.ChopperModeEnable = HRTIM_OUTPUTCHOPPERMODE_DISABLED;
  output_config_TDx.BurstModeEntryDelayed = HRTIM_OUTPUTBURSTMODEENTRY_REGULAR;
  HAL_HRTIM_WaveformOutputConfig(&hhrtim1,
                                 HRTIM_TIMERINDEX_TIMER_D,
                                 HRTIM_OUTPUT_TD1,
                                 &output_config_TDx);

  /* ----------------------------------------------------------------------- */
  /* TD2 waveform description: set on CMP2, reset on period */
  /* Note: TDx init structure is re-used, identical parameters not set again */
  /* ----------------------------------------------------------------------- */
  output_config_TDx.SetSource = HRTIM_OUTPUTSET_TIMCMP2;
  output_config_TDx.ResetSource  = HRTIM_OUTPUTRESET_TIMPER;
  HAL_HRTIM_WaveformOutputConfig(&hhrtim1,
                                 HRTIM_TIMERINDEX_TIMER_D,
                                 HRTIM_OUTPUT_TD2,
                                 &output_config_TDx);

  /* Set compare registers for duty cycle on TD1 */
  compare_config.CompareValue = _100KHz_PERIOD/4;     /* 25% duty cycle */
  HAL_HRTIM_WaveformCompareConfig(&hhrtim1,
                                  HRTIM_TIMERINDEX_TIMER_D,
                                  HRTIM_COMPAREUNIT_1,
                                  &compare_config);

  /* Set compare register for duty cycle on TD2 */
  compare_config.AutoDelayedMode = HRTIM_AUTODELAYEDMODE_REGULAR;
  compare_config.AutoDelayedTimeout = 0;
  compare_config.CompareValue = (3*_100KHz_PERIOD)/4;     /* 75% of the period */
  HAL_HRTIM_WaveformCompareConfig(&hhrtim1,
                                  HRTIM_TIMERINDEX_TIMER_D,
                                  HRTIM_COMPAREUNIT_2,
                                  &compare_config);

  /* ------------------------------------------------------------ */
  /* TIMERA initialization: set PWM frequency and continuous mode */
  /* Prescaler ratio is different from Timer A settings */
  /* ------------------------------------------------------------ */
  timebase_config.Period = _33KHz_PERIOD;
  timebase_config.RepetitionCounter = 0;
  timebase_config.PrescalerRatio = HRTIM_PRESCALERRATIO_MUL8;
  timebase_config.Mode = HRTIM_MODE_CONTINUOUS;
  HAL_HRTIM_TimeBaseConfig(&hhrtim1, HRTIM_TIMERINDEX_TIMER_A, &timebase_config);

  /* --------------------------------------------------------- */
  /* TIMERA global configuration: preload enabled on REP event */
  /* Uses Timer D very same configuration                      */
  /* --------------------------------------------------------- */
  HAL_HRTIM_WaveformTimerConfig(&hhrtim1, HRTIM_TIMERINDEX_TIMER_A,&timer_config);

  /* ------------------------------------------------------ */
  /* TA1 waveform description: set on period, reset on CMP1 */
  /* ------------------------------------------------------ */
  output_config_TAx.Polarity = HRTIM_OUTPUTPOLARITY_HIGH;
  output_config_TAx.SetSource = HRTIM_OUTPUTSET_TIMPER;
  output_config_TAx.ResetSource  = HRTIM_OUTPUTRESET_TIMCMP1;
  output_config_TAx.IdleMode = HRTIM_OUTPUTIDLEMODE_NONE;
  output_config_TAx.IdleLevel = HRTIM_OUTPUTIDLELEVEL_INACTIVE;
  output_config_TAx.FaultLevel = HRTIM_OUTPUTFAULTLEVEL_NONE;
  output_config_TAx.ChopperModeEnable = HRTIM_OUTPUTCHOPPERMODE_DISABLED;
  output_config_TAx.BurstModeEntryDelayed = HRTIM_OUTPUTBURSTMODEENTRY_REGULAR;
  HAL_HRTIM_WaveformOutputConfig(&hhrtim1,
                                 HRTIM_TIMERINDEX_TIMER_A,
                                 HRTIM_OUTPUT_TA1,
                                 &output_config_TAx);

  /* ------------------------------------------------------ */
  /* TA2 waveform description: set on CMP2, reset on period */
  /* Note: TAx init structure is re-used                    */
  /* ------------------------------------------------------ */
  output_config_TAx.SetSource = HRTIM_OUTPUTSET_TIMCMP2;
  output_config_TAx.ResetSource  = HRTIM_OUTPUTRESET_TIMCMP3;
  HAL_HRTIM_WaveformOutputConfig(&hhrtim1,
                                 HRTIM_TIMERINDEX_TIMER_A,
                                 HRTIM_OUTPUT_TA2,
                                 &output_config_TAx);

  /* Set compare registers for duty cycle on TA1 */
  compare_config.CompareValue = _33KHz_PERIOD/4;     /* 25% duty cycle */
  HAL_HRTIM_WaveformCompareConfig(&hhrtim1,
                                  HRTIM_TIMERINDEX_TIMER_A,
                                  HRTIM_COMPAREUNIT_1,
                                  &compare_config);

  /* Set compare register for duty cycle on TA2 */
  compare_config.AutoDelayedMode = HRTIM_AUTODELAYEDMODE_REGULAR;
  compare_config.AutoDelayedTimeout = 0;
  compare_config.CompareValue = _33KHz_PERIOD/2;     /* 50% of the period */
  HAL_HRTIM_WaveformCompareConfig(&hhrtim1,
                                  HRTIM_TIMERINDEX_TIMER_A,
                                  HRTIM_COMPAREUNIT_2,
                                  &compare_config);

  /* Set compare register for duty cycle on TA2 */
  compare_config.CompareValue = (3*_33KHz_PERIOD)/4;     /* 75% of the period */
  HAL_HRTIM_WaveformCompareConfig(&hhrtim1,
                                  HRTIM_TIMERINDEX_TIMER_A,
                                  HRTIM_COMPAREUNIT_3,
                                  &compare_config);

  /* ---------------*/
  /* HRTIM start-up */
  /* ---------------*/
  /* Enable HRTIM's outputs TA1, TA2, TD1 and TD2 */
  /* Note: it is necessary to enable also GPIOs to have outputs functional */
  /* This must be done after HRTIM initialization */
  HAL_HRTIM_WaveformOutputStart(&hhrtim1, HRTIM_OUTPUT_TA1 + HRTIM_OUTPUT_TA2
                                       + HRTIM_OUTPUT_TD1 + HRTIM_OUTPUT_TD2);

  /* Start HRTIM's TIMER D*/
  HAL_HRTIM_WaveformCounterStart(&hhrtim1, HRTIM_TIMERID_TIMER_A + HRTIM_TIMERID_TIMER_D);

}
#endif  /* MULTIPLE_PWM */

#ifdef PWM_MASTER
/**
* @brief  HRTIM configuration for generating a PWM with the master timer
* @param  None
* @retval None
*/
static void HRTIM_Config_MasterPWM(void)
{
  HRTIM_TimeBaseCfgTypeDef timebase_config;
  HRTIM_TimerCfgTypeDef timer_config;
  HRTIM_OutputCfgTypeDef output_config_TDx;
  HRTIM_CompareCfgTypeDef compare_config;

  /* ----------------------------------------------- */
  /* HRTIM Global initialization: Clock and DLL init */
  /* ----------------------------------------------- */
  /* Initialize the HRTIM structure (minimal configuration) */
  hhrtim1.Instance = HRTIM1;
  hhrtim1.Init.HRTIMInterruptResquests = HRTIM_IT_NONE;
  hhrtim1.Init.SyncOptions = HRTIM_SYNCOPTION_NONE;

  /* Initialize HRTIM */
  HAL_HRTIM_Init(&hhrtim1);

  /* HRTIM DLL calibration: periodic calibration, set period to 14µs */
  HAL_HRTIM_DLLCalibrationStart(&hhrtim1, HRTIM_CALIBRATIONRATE_3);

  /* Wait calibration completion*/
  if (HAL_HRTIM_PollForDLLCalibration(&hhrtim1, 100) != HAL_OK)
  {
    Error_Handler(); /* if DLL or clock is not correctly set */
  }

  /* ------------------------------------------------------------ */
  /* TIMERD initialization: set PWM frequency and continuous mode */
  /* ------------------------------------------------------------ */
  timebase_config.Period = _100KHz_PERIOD;
  timebase_config.RepetitionCounter = 0;
  timebase_config.PrescalerRatio = HRTIM_PRESCALERRATIO_MUL32;
  timebase_config.Mode = HRTIM_MODE_CONTINUOUS;
  HAL_HRTIM_TimeBaseConfig(&hhrtim1, HRTIM_TIMERINDEX_TIMER_D, &timebase_config);

  /* ------------------------------------------------------------------- */
  /* MASTER TIMER initialization: set PWM frequency and continuous mode  */
  /* The frequency difference is very low to show that the 2 signals are */
  /* not synchronous                                                     */
  /* Note: Timer D init struture is re-used                              */
  /* ------------------------------------------------------------------- */
  timebase_config.Period = _100KHz_Plus_PERIOD;
  HAL_HRTIM_TimeBaseConfig(&hhrtim1, HRTIM_TIMERINDEX_MASTER, &timebase_config);

  /* --------------------------------------------------------- */
  /* TIMERD global configuration: preload enabled on REP event */
  /* --------------------------------------------------------- */
  timer_config.DMARequests = HRTIM_TIM_DMA_NONE;
  timer_config.HalfModeEnable = HRTIM_HALFMODE_DISABLED;
  timer_config.StartOnSync = HRTIM_SYNCSTART_DISABLED;
  timer_config.ResetOnSync = HRTIM_SYNCRESET_DISABLED;
  timer_config.DACSynchro = HRTIM_DACSYNC_NONE;
  timer_config.PreloadEnable = HRTIM_PRELOAD_ENABLED;
  timer_config.UpdateGating = HRTIM_UPDATEGATING_INDEPENDENT;
  timer_config.BurstMode = HRTIM_TIMERBURSTMODE_MAINTAINCLOCK;
  timer_config.RepetitionUpdate = HRTIM_UPDATEONREPETITION_ENABLED;
  timer_config.ResetUpdate = HRTIM_TIMUPDATEONRESET_DISABLED;
  timer_config.InterruptRequests = HRTIM_TIM_IT_NONE;
  timer_config.PushPull = HRTIM_TIMPUSHPULLMODE_DISABLED;
  timer_config.FaultEnable = HRTIM_TIMFAULTENABLE_NONE;
  timer_config.FaultLock = HRTIM_TIMFAULTLOCK_READWRITE;
  timer_config.DeadTimeInsertion = HRTIM_TIMDEADTIMEINSERTION_DISABLED;
  timer_config.DelayedProtectionMode = HRTIM_TIMER_A_B_C_DELAYEDPROTECTION_DISABLED;
  timer_config.UpdateTrigger= HRTIM_TIMUPDATETRIGGER_NONE;
  timer_config.ResetTrigger = HRTIM_TIMRESETTRIGGER_NONE;
  HAL_HRTIM_WaveformTimerConfig(&hhrtim1, HRTIM_TIMERINDEX_TIMER_D,&timer_config);

  /* -------------------------------------------------- */
  /* MASTER TIMER global configuration: same as TIMER D */
  /* -------------------------------------------------- */
  HAL_HRTIM_WaveformTimerConfig(&hhrtim1, HRTIM_TIMERINDEX_MASTER,&timer_config);

  /* ------------------------------------------------------ */
  /* TD1 waveform description: set on period, reset on CMP1 */
  /* ------------------------------------------------------ */
  output_config_TDx.Polarity = HRTIM_OUTPUTPOLARITY_HIGH;
  output_config_TDx.SetSource = HRTIM_OUTPUTSET_TIMPER;
  output_config_TDx.ResetSource  = HRTIM_OUTPUTRESET_TIMCMP1;
  output_config_TDx.IdleMode = HRTIM_OUTPUTIDLEMODE_NONE;
  output_config_TDx.IdleLevel = HRTIM_OUTPUTIDLELEVEL_INACTIVE;
  output_config_TDx.FaultLevel = HRTIM_OUTPUTFAULTLEVEL_NONE;
  output_config_TDx.ChopperModeEnable = HRTIM_OUTPUTCHOPPERMODE_DISABLED;
  output_config_TDx.BurstModeEntryDelayed = HRTIM_OUTPUTBURSTMODEENTRY_REGULAR;
  HAL_HRTIM_WaveformOutputConfig(&hhrtim1,
                                 HRTIM_TIMERINDEX_TIMER_D,
                                 HRTIM_OUTPUT_TD1,
                                 &output_config_TDx);

  /* ------------------------------------------------------ */
  /* TD2 waveform description: set on CMP2, reset on period */
  /* Note: TDx init structure is re-used */
  /* ------------------------------------------------------ */
  output_config_TDx.SetSource = HRTIM_OUTPUTSET_MASTERPER;
  output_config_TDx.ResetSource  = HRTIM_OUTPUTSET_MASTERCMP1;
  HAL_HRTIM_WaveformOutputConfig(&hhrtim1,
                                 HRTIM_TIMERINDEX_TIMER_D,
                                 HRTIM_OUTPUT_TD2,
                                 &output_config_TDx);

  /* Set compare registers for duty cycle on TD1 in Timer D */
  compare_config.CompareValue = _100KHz_PERIOD/4;     /* 25% duty cycle */
  HAL_HRTIM_WaveformCompareConfig(&hhrtim1,
                                  HRTIM_TIMERINDEX_TIMER_D,
                                  HRTIM_COMPAREUNIT_1,
                                  &compare_config);

  /* Set compare registers for duty cycle on TD2 in Master timer */
  compare_config.CompareValue = _100KHz_Plus_PERIOD/2;     /* 50% duty cycle */
  HAL_HRTIM_WaveformCompareConfig(&hhrtim1,
                                  HRTIM_TIMERINDEX_MASTER,
                                  HRTIM_COMPAREUNIT_1,
                                  &compare_config);

  /* ---------------*/
  /* HRTIM start-up */
  /* ---------------*/
  /* Enable HRTIM's outputs TD1 and TD2 */
  /* Note: it is necessary to enable also GPIOs to have outputs functional */
  /* This must be done after HRTIM initialization */
  HAL_HRTIM_WaveformOutputStart(&hhrtim1, HRTIM_OUTPUT_TD1 + HRTIM_OUTPUT_TD2);

  /* Start HRTIM's Master TIMER and TIMER D*/
  HAL_HRTIM_WaveformCounterStart(&hhrtim1, HRTIM_TIMERID_MASTER + HRTIM_TIMERID_TIMER_D);

}
#endif /* PWM_MASTER */

#ifdef ARBITRARY_WAVEFORM
/**
* @brief  HRTIM configuration for generating an arbitrary waveform
* @param  None
* @retval None
*/
static void HRTIM_Config_ArbitraryWaveform(void)
{
  HRTIM_TimeBaseCfgTypeDef timebase_config;
  HRTIM_TimerCfgTypeDef timer_config;
  HRTIM_OutputCfgTypeDef output_config_TDx;
  HRTIM_CompareCfgTypeDef compare_config;

  /* ----------------------------------------------- */
  /* HRTIM Global initialization: Clock and DLL init */
  /* ----------------------------------------------- */
  /* Initialize the HRTIM structure (minimal configuration) */
  hhrtim1.Instance = HRTIM1;
  hhrtim1.Init.HRTIMInterruptResquests = HRTIM_IT_NONE;
  hhrtim1.Init.SyncOptions = HRTIM_SYNCOPTION_NONE;

  /* Initialize HRTIM */
  HAL_HRTIM_Init(&hhrtim1);

  /* HRTIM DLL calibration: periodic calibration, set period to 14µs */
  HAL_HRTIM_DLLCalibrationStart(&hhrtim1, HRTIM_CALIBRATIONRATE_3);

  /* Wait calibration completion*/
  if (HAL_HRTIM_PollForDLLCalibration(&hhrtim1, 100) != HAL_OK)
  {
    Error_Handler(); /* if DLL or clock is not correctly set */
  }

  /* ------------------------------------------------------------ */
  /* TIMERD initialization: set PWM frequency and continuous mode */
  /* ------------------------------------------------------------ */
  timebase_config.Period = _100KHz_PERIOD;
  timebase_config.RepetitionCounter = 0;
  timebase_config.PrescalerRatio = HRTIM_PRESCALERRATIO_MUL32;
  timebase_config.Mode = HRTIM_MODE_CONTINUOUS;
  HAL_HRTIM_TimeBaseConfig(&hhrtim1, HRTIM_TIMERINDEX_TIMER_D, &timebase_config);

  /* --------------------------------------------------------- */
  /* TIMERD global configuration: preload enabled on REP event */
  /* --------------------------------------------------------- */
  timer_config.DMARequests = HRTIM_TIM_DMA_NONE;
  timer_config.HalfModeEnable = HRTIM_HALFMODE_DISABLED;
  timer_config.StartOnSync = HRTIM_SYNCSTART_DISABLED;
  timer_config.ResetOnSync = HRTIM_SYNCRESET_DISABLED;
  timer_config.DACSynchro = HRTIM_DACSYNC_NONE;
  timer_config.PreloadEnable = HRTIM_PRELOAD_ENABLED;
  timer_config.UpdateGating = HRTIM_UPDATEGATING_INDEPENDENT;
  timer_config.BurstMode = HRTIM_TIMERBURSTMODE_MAINTAINCLOCK;
  timer_config.RepetitionUpdate = HRTIM_UPDATEONREPETITION_ENABLED;
  timer_config.ResetUpdate = HRTIM_TIMUPDATEONRESET_DISABLED;
  timer_config.InterruptRequests = HRTIM_TIM_IT_NONE;
  timer_config.PushPull = HRTIM_TIMPUSHPULLMODE_DISABLED;
  timer_config.FaultEnable = HRTIM_TIMFAULTENABLE_NONE;
  timer_config.FaultLock = HRTIM_TIMFAULTLOCK_READWRITE;
  timer_config.DeadTimeInsertion = HRTIM_TIMDEADTIMEINSERTION_DISABLED;
  timer_config.DelayedProtectionMode = HRTIM_TIMER_A_B_C_DELAYEDPROTECTION_DISABLED;
  timer_config.UpdateTrigger= HRTIM_TIMUPDATETRIGGER_NONE;
  timer_config.ResetTrigger = HRTIM_TIMRESETTRIGGER_NONE;
  HAL_HRTIM_WaveformTimerConfig(&hhrtim1, HRTIM_TIMERINDEX_TIMER_D,&timer_config);

  /* --------------------------------------------------------------------- */
  /* TD1 waveform description: toggles on TIMD period, CMP1 and CMP2 event */
  /* --------------------------------------------------------------------- */
  output_config_TDx.Polarity = HRTIM_OUTPUTPOLARITY_HIGH;
  output_config_TDx.SetSource = HRTIM_OUTPUTSET_TIMPER + HRTIM_OUTPUTSET_TIMCMP1 + HRTIM_OUTPUTSET_TIMCMP2;
  output_config_TDx.ResetSource  = HRTIM_OUTPUTRESET_TIMPER + HRTIM_OUTPUTRESET_TIMCMP1 + HRTIM_OUTPUTRESET_TIMCMP2;
  output_config_TDx.IdleMode = HRTIM_OUTPUTIDLEMODE_NONE;
  output_config_TDx.IdleLevel = HRTIM_OUTPUTIDLELEVEL_INACTIVE;
  output_config_TDx.FaultLevel = HRTIM_OUTPUTFAULTLEVEL_NONE;
  output_config_TDx.ChopperModeEnable = HRTIM_OUTPUTCHOPPERMODE_DISABLED;
  output_config_TDx.BurstModeEntryDelayed = HRTIM_OUTPUTBURSTMODEENTRY_REGULAR;
  HAL_HRTIM_WaveformOutputConfig(&hhrtim1,
                                 HRTIM_TIMERINDEX_TIMER_D,
                                 HRTIM_OUTPUT_TD1,
                                 &output_config_TDx);

  /* ------------------------------------------------------ */
  /* TD2 waveform description: set on TIMD PER and CMP2 and */
  /* reset on TIMD CMP1 and CMP3 event                      */
  /* Note: TDx init structure is re-used                    */
  /* ------------------------------------------------------ */
  output_config_TDx.SetSource = HRTIM_OUTPUTSET_TIMPER + HRTIM_OUTPUTSET_TIMCMP2;
  output_config_TDx.ResetSource  = HRTIM_OUTPUTRESET_TIMCMP1 + HRTIM_OUTPUTRESET_TIMCMP3;
  HAL_HRTIM_WaveformOutputConfig(&hhrtim1,
                                 HRTIM_TIMERINDEX_TIMER_D,
                                 HRTIM_OUTPUT_TD2,
                                 &output_config_TDx);

  /* Set compare register 1 in Timer D */
  compare_config.CompareValue = _100KHz_PERIOD/4;     /* 25% of the period */
  HAL_HRTIM_WaveformCompareConfig(&hhrtim1,
                                  HRTIM_TIMERINDEX_TIMER_D,
                                  HRTIM_COMPAREUNIT_1,
                                  &compare_config);

  /* Set compare register 2 in Timer D */
  compare_config.AutoDelayedMode = HRTIM_AUTODELAYEDMODE_REGULAR;
  compare_config.AutoDelayedTimeout = 0;
  compare_config.CompareValue = (3*_100KHz_PERIOD)/8;     /* 37.5% of the period */
  HAL_HRTIM_WaveformCompareConfig(&hhrtim1,
                                  HRTIM_TIMERINDEX_TIMER_D,
                                  HRTIM_COMPAREUNIT_2,
                                  &compare_config);

    /* Set compare register 3 in Timer D */
  compare_config.CompareValue = _100KHz_PERIOD/2;     /* 50% of the period */
  HAL_HRTIM_WaveformCompareConfig(&hhrtim1,
                                  HRTIM_TIMERINDEX_TIMER_D,
                                  HRTIM_COMPAREUNIT_3,
                                  &compare_config);

  /* ---------------*/
  /* HRTIM start-up */
  /* ---------------*/
  /* Enable HRTIM's outputs TD1 and TD2 */
  /* Note: it is necessary to enable also GPIOs to have outputs functional */
  /* This must be done after HRTIM initialization */
  HAL_HRTIM_WaveformOutputStart(&hhrtim1, HRTIM_OUTPUT_TD1 + HRTIM_OUTPUT_TD2);

  /* Start HRTIM's TIMER D */
  HAL_HRTIM_WaveformCounterStart(&hhrtim1, HRTIM_TIMERID_TIMER_D);

}
#endif /* ARBITRARY_WAVEFORM */

/* USER CODE END 4 */

void Error_Handler(void)
{
}

/************************ (C) COPYRIGHT STMicroelectronics *****END OF FILE****/
